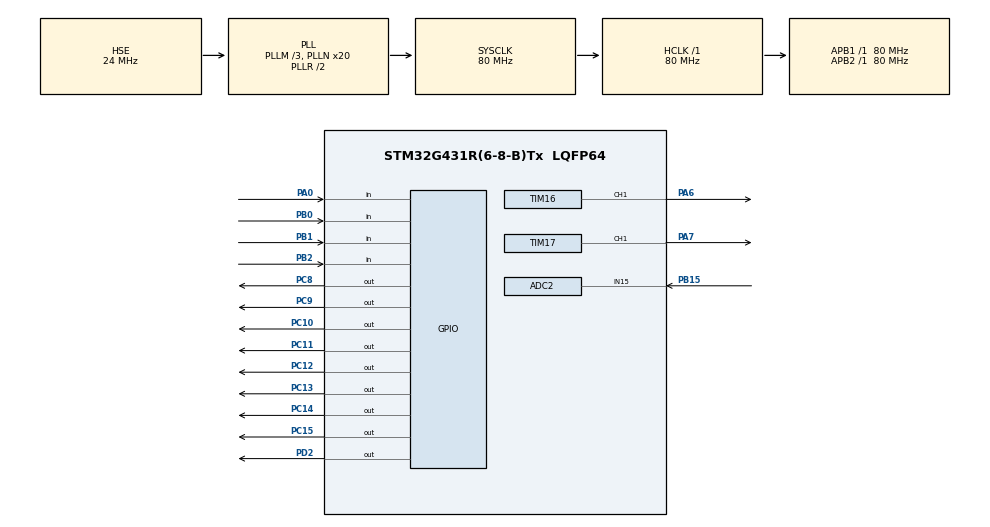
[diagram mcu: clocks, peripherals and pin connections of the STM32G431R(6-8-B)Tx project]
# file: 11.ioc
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ADC2.Channel-0\#ChannelRegularConversion=ADC_CHANNEL_15
ADC2.NbrOfConversionFlag=1
ADC2.OffsetNumber-0\#ChannelRegularConversion=ADC_OFFSET_NONE
ADC2.Rank-0\#ChannelRegularConversion=1
ADC2.SamplingTime-0\#ChannelRegularConversion=ADC_SAMPLETIME_2CYCLES_5
Mcu.Family=STM32G4
Mcu.Name=STM32G431R(6-8-B)Tx
Mcu.Package=LQFP64
NVIC.PriorityGroup=NVIC_PRIORITYGROUP_4
NVIC.TIM1_TRG_COM_TIM17_IRQn=true\:0\:0\:false\:false\:true\:true\:true
NVIC.TIM1_UP_TIM16_IRQn=true\:0\:0\:false\:false\:true\:true\:true
PA0.Signal=GPIO_Input
PA13.Mode=Serial_Wire
PA13.Signal=SYS_JTMS-SWDIO
PA14.Mode=Serial_Wire
PA14.Signal=SYS_JTCK-SWCLK
PA6.Signal=S_TIM16_CH1
PA7.Signal=S_TIM17_CH1
PB0.Signal=GPIO_Input
PB1.Signal=GPIO_Input
PB15.Mode=IN15-Single-Ended
PB15.Signal=ADC2_IN15
PB2.Signal=GPIO_Input
PC10.PinState=GPIO_PIN_RESET
PC10.Signal=GPIO_Output
PC11.PinState=GPIO_PIN_RESET
PC11.Signal=GPIO_Output
PC12.Signal=GPIO_Output
PC13.Signal=GPIO_Output
PC14-OSC32_IN.Signal=GPIO_Output
PC15-OSC32_OUT.Signal=GPIO_Output
PC8.PinState=GPIO_PIN_RESET
PC8.Signal=GPIO_Output
PC9.PinState=GPIO_PIN_RESET
PC9.Signal=GPIO_Output
PD2.Signal=GPIO_Output
PF0-OSC_IN.Mode=HSE-External-Oscillator
PF0-OSC_IN.Signal=RCC_OSC_IN
PF1-OSC_OUT.Mode=HSE-External-Oscillator
PF1-OSC_OUT.Signal=RCC_OSC_OUT
ProjectManager.HeapSize=0x200
ProjectManager.StackSize=0x400
ProjectManager.TargetToolchain=MDK-ARM V5.27
RCC.ADC12Freq_Value=80000000
RCC.AHBFreq_Value=80000000
RCC.APB1Freq_Value=80000000
RCC.APB1TimFreq_Value=80000000
RCC.APB2Freq_Value=80000000
RCC.APB2TimFreq_Value=80000000
RCC.CortexFreq_Value=80000000
RCC.EXTERNAL_CLOCK_VALUE=12288000
RCC.HCLKFreq_Value=80000000
RCC.HSE_VALUE=24000000
RCC.HSI48_VALUE=48000000
RCC.HSI_VALUE=16000000
RCC.LSE_VALUE=32768
RCC.PLLM=RCC_PLLM_DIV3
RCC.PLLN=20
RCC.PLLSourceVirtual=RCC_PLLSOURCE_HSE
RCC.SYSCLKFreq_VALUE=80000000
RCC.SYSCLKSource=RCC_SYSCLKSOURCE_PLLCLK
RCC.USBFreq_Value=80000000
RCC.VCOOutputFreq_Value=160000000
SH.S_TIM16_CH1.0=TIM16_CH1,PWM Generation1 CH1
SH.S_TIM17_CH1.0=TIM17_CH1,PWM Generation1 CH1
TIM16.Channel=TIM_CHANNEL_1
TIM16.PeriodNoDither=10000-1
TIM16.Prescaler=79
TIM16.PulseNoDither_1=5000-1
TIM17.Channel=TIM_CHANNEL_1
TIM17.PeriodNoDither=5000-1
TIM17.Prescaler=79
TIM17.PulseNoDither_1=2500-1
VP_SYS_VS_DBSignals.Mode=DisableDeadBatterySignals
VP_TIM16_VS_ClockSourceINT.Mode=Enable_Timer
VP_TIM17_VS_ClockSourceINT.Mode=Enable_Timer
board=custom

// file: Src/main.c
/* USER CODE BEGIN Header */
/**
  ******************************************************************************
  * @file           : main.c
  * @brief          : Main program body
  ******************************************************************************
  * @attention
  *
  * <h2><center>&copy; Copyright (c) 2023 STMicroelectronics.
  * All rights reserved.</center></h2>
  *
  * This software component is licensed by ST under BSD 3-Clause license,
  * the "License"; You may not use this file except in compliance with the
  * License. You may obtain a copy of the License at:
  *                        opensource.org/licenses/BSD-3-Clause
  *
  ******************************************************************************
  */
/* USER CODE END Header */

#include "main.h"
#include "adc.h"
#include "tim.h"
#include "gpio.h"

/* USER CODE BEGIN Includes */
#include "lcd_hal.h"
#include "stdio.h"
/* USER CODE END Includes */

/* USER CODE BEGIN PD */
//按键宏定义
#define B1 HAL_GPIO_ReadPin(GPIOB, GPIO_PIN_0)
#define B2 HAL_GPIO_ReadPin(GPIOB, GPIO_PIN_1)
#define B3 HAL_GPIO_ReadPin(GPIOB, GPIO_PIN_2)
#define B4 HAL_GPIO_ReadPin(GPIOA, GPIO_PIN_0)

/* USER CODE END PD */

/* USER CODE BEGIN PV */
//定义一个按键检测枚举
enum Key_All_state{
	Key_Check,
	Key_Press,
	Key_Release
};

enum Key_All_state Key_State=Key_Check;
uint32_t Key_Press_Time = 20 ;//第一次进入释放初始值
uint8_t Key_Value=0;//按键键值
uint8_t Key_Flag=0;//按键标志位

uint8_t Duty_PA6=10;//定义占空比变量
uint8_t Duty_PA7=10;

//显示界面变量
uint8_t Inerface_Num=0;
//控制模式
uint8_t Control_Mode=0;

//电压变量
uint32_t vlot_Value;

/* USER CODE END PV */

void SystemClock_Config(void);
/* USER CODE BEGIN PFP */
void LedAllClose(void);
void LcdDataInterface(float Vlot,int mode);
void LcdParaInterface(int Duty_PA6,int Duty_PA7);
void LcdInit(void);
void LedControl(void);
uint32_t AdcGet(void);
/* USER CODE END PFP */

int main(void)
{

  /* MCU Configuration--------------------------------------------------------*/

  /* Reset of all peripherals, Initializes the Flash interface and the Systick. */
  HAL_Init();

  /* Configure the system clock */
  SystemClock_Config();

  /* Initialize all configured peripherals */
  MX_GPIO_Init();
  MX_ADC2_Init();
  MX_TIM16_Init();
  MX_TIM17_Init();
  /* USER CODE BEGIN 2 */
	LedAllClose();
	LCD_Init();//LCD初始化
	LcdInit();
	//开启PWM输出
	HAL_TIM_PWM_Start(&htim16, TIM_CHANNEL_1);
	HAL_TIM_PWM_Start(&htim17, TIM_CHANNEL_1);
	//清除中断
	__HAL_TIM_CLEAR_IT(&htim16, TIM_CHANNEL_1);
	__HAL_TIM_CLEAR_IT(&htim17, TIM_CHANNEL_1);
  /* USER CODE END 2 */

  /* Infinite loop */
  /* USER CODE BEGIN WHILE */
  while (1)
  {
	  //读取电压值
	  vlot_Value = AdcGet();
	  //按键检测
	  if(Key_Flag)
	  {
		Key_Flag = 0;
		  //界面切换按键
		if(Key_Value == 1)
		{
			++Inerface_Num;
			Inerface_Num %= 2;
		}
		//仅参数界面有效
		if(Key_Value == 2 && Inerface_Num==1)
		{
			Duty_PA6 += 10;
			if(Duty_PA6 == 100) Duty_PA6=10;
		}
		//仅参数界面有效
		if(Key_Value == 3 && Inerface_Num==1)
		{
			Duty_PA7 += 10;
			if(Duty_PA7 == 100) Duty_PA7=10;
		}
		if(Key_Value == 4)
		{
			Control_Mode++;
			Control_Mode %= 2;
		}
	  }

	  //自动模式控制占空比
	  if(Control_Mode == 0)
	  {
		  	//改变占空比
		  __HAL_TIM_SET_COMPARE(&htim16, TIM_CHANNEL_1, vlot_Value * 10000 /4096 -1);
		  __HAL_TIM_SET_COMPARE(&htim17, TIM_CHANNEL_1, vlot_Value * 5000 /4096 -1);
	  }
	  else
	  {
			//改变占空比
		  __HAL_TIM_SET_COMPARE(&htim16, TIM_CHANNEL_1, Duty_PA6 * 100);
		  __HAL_TIM_SET_COMPARE(&htim17, TIM_CHANNEL_1, Duty_PA7 * 100 /2);
	  }
	  //显示界面
	  if(Inerface_Num == 0) LcdDataInterface(vlot_Value * 3.3/4096,Control_Mode);//数据界面
	  else LcdParaInterface( Duty_PA6, Duty_PA7);//参数界面

	  //LED控制
	  LedControl();
    /* USER CODE END WHILE */

  }
}

void SystemClock_Config(void)
{
  RCC_OscInitTypeDef RCC_OscInitStruct = {0};
  RCC_ClkInitTypeDef RCC_ClkInitStruct = {0};
  RCC_PeriphCLKInitTypeDef PeriphClkInit = {0};

  /** Configure the main internal regulator output voltage
  */
  HAL_PWREx_ControlVoltageScaling(PWR_REGULATOR_VOLTAGE_SCALE1);
  /** Initializes the CPU, AHB and APB busses clocks
  */
  RCC_OscInitStruct.OscillatorType = RCC_OSCILLATORTYPE_HSE;
  RCC_OscInitStruct.HSEState = RCC_HSE_ON;
  RCC_OscInitStruct.PLL.PLLState = RCC_PLL_ON;
  RCC_OscInitStruct.PLL.PLLSource = RCC_PLLSOURCE_HSE;
  RCC_OscInitStruct.PLL.PLLM = RCC_PLLM_DIV3;
  RCC_OscInitStruct.PLL.PLLN = 20;
  RCC_OscInitStruct.PLL.PLLP = RCC_PLLP_DIV2;
  RCC_OscInitStruct.PLL.PLLQ = RCC_PLLQ_DIV2;
  RCC_OscInitStruct.PLL.PLLR = RCC_PLLR_DIV2;
  if (HAL_RCC_OscConfig(&RCC_OscInitStruct) != HAL_OK)
  {
    Error_Handler();
  }
  /** Initializes the CPU, AHB and APB busses clocks
  */
  RCC_ClkInitStruct.ClockType = RCC_CLOCKTYPE_HCLK|RCC_CLOCKTYPE_SYSCLK
                              |RCC_CLOCKTYPE_PCLK1|RCC_CLOCKTYPE_PCLK2;
  RCC_ClkInitStruct.SYSCLKSource = RCC_SYSCLKSOURCE_PLLCLK;
  RCC_ClkInitStruct.AHBCLKDivider = RCC_SYSCLK_DIV1;
  RCC_ClkInitStruct.APB1CLKDivider = RCC_HCLK_DIV1;
  RCC_ClkInitStruct.APB2CLKDivider = RCC_HCLK_DIV1;

  if (HAL_RCC_ClockConfig(&RCC_ClkInitStruct, FLASH_LATENCY_3) != HAL_OK)
  {
    Error_Handler();
  }
  /** Initializes the peripherals clocks
  */
  PeriphClkInit.PeriphClockSelection = RCC_PERIPHCLK_ADC12;
  PeriphClkInit.Adc12ClockSelection = RCC_ADC12CLKSOURCE_SYSCLK;
  if (HAL_RCCEx_PeriphCLKConfig(&PeriphClkInit) != HAL_OK)
  {
    Error_Handler();
  }
}

/* USER CODE BEGIN 4 */
//关闭所有LED
void LedAllClose(void)
{
	//PD2 开启LED使能控制
	HAL_GPIO_WritePin(GPIOD, GPIO_PIN_2, GPIO_PIN_SET);
	//关闭所有LED
	HAL_GPIO_WritePin(GPIOC, GPIO_PIN_8 | GPIO_PIN_9 | GPIO_PIN_10 | GPIO_PIN_11 |
						GPIO_PIN_12 | GPIO_PIN_13 | GPIO_PIN_14 | GPIO_PIN_15, GPIO_PIN_SET);
	//PD2 关闭LED使能控制
	HAL_GPIO_WritePin(GPIOD, GPIO_PIN_2, GPIO_PIN_RESET);
}

void LcdInit(void)
{
	LCD_SetTextColor(White);
	LCD_SetBackColor(Black);
	LCD_DisplayStringLine(Line0, "                    ");
	LCD_DisplayStringLine(Line1, "                    ");
	LCD_DisplayStringLine(Line2, "                    ");
	LCD_DisplayStringLine(Line3, "                    ");
	LCD_DisplayStringLine(Line4, "                    ");
	LCD_DisplayStringLine(Line5, "                    ");
	LCD_DisplayStringLine(Line6, "                    ");
	LCD_DisplayStringLine(Line7, "                    ");
	LCD_DisplayStringLine(Line8, "                    ");
	LCD_DisplayStringLine(Line9, "                    ");
}

void LcdDataInterface(float Vlot,int mode)
{
	uint8_t StringLine2[20];
	//显示Data
	LCD_DisplayStringLine(Line0, "      Data          ");
	sprintf((char*)StringLine2,"    V:%.2fV     ",Vlot);
	LCD_DisplayStringLine(Line2, StringLine2);
	if(mode==0)
		LCD_DisplayStringLine(Line4, "    Mode:AUTO       ");
	else if(mode == 1)
		LCD_DisplayStringLine(Line4, "    Mode:MANU       ");
}

void LcdParaInterface(int Duty_PA6,int Duty_PA7)
{
	uint8_t StringLine2[20];
	uint8_t StringLine4[20];
	//显示Data
	LCD_DisplayStringLine(Line0, "      Para          ");
	sprintf((char*)StringLine2,"    PA6:%2d%%     ",Duty_PA6);
	LCD_DisplayStringLine(Line2, StringLine2);
	sprintf((char*)StringLine4,"    PA7:%2d%%     ",Duty_PA7);
	LCD_DisplayStringLine(Line4, StringLine4);
}

//按键扫描 10ms扫描一次
void KeyScan(void)
{
	switch(Key_State)
	{
		case Key_Check:
			if(B1 == GPIO_PIN_RESET | B2 == GPIO_PIN_RESET | B3 == GPIO_PIN_RESET | B4 == GPIO_PIN_RESET)
				Key_State = Key_Press;
			break;
		case Key_Press:
			Key_State = Key_Release;//等待按键释放
			//键值判断
			if(B1 == GPIO_PIN_RESET) Key_Value=1;
			else if(B2 == GPIO_PIN_RESET) Key_Value=2;
			else if(B3 == GPIO_PIN_RESET) Key_Value=3;
			else if(B4 == GPIO_PIN_RESET) Key_Value=4;
			else Key_State = Key_Check;//消抖判断
			break;
		case Key_Release:
			if(B1 == GPIO_PIN_RESET | B2 == GPIO_PIN_RESET | B3 == GPIO_PIN_RESET | B4 == GPIO_PIN_RESET)
				Key_Press_Time+=10;//按键持续按下
			else//按键释放
			{
				Key_Flag=1;//按键标志位
				Key_State = Key_Check;//按键状态复位
			}
			break;
		default:break;
	}
}

//LED控制
void LedControl(void)
{
	//PD2 开启LED使能控制
	HAL_GPIO_WritePin(GPIOD, GPIO_PIN_2, GPIO_PIN_SET);
	//关闭所有LED
	HAL_GPIO_WritePin(GPIOC, GPIO_PIN_8 | GPIO_PIN_9 | GPIO_PIN_10 | GPIO_PIN_11 |
						GPIO_PIN_12 | GPIO_PIN_13 | GPIO_PIN_14 | GPIO_PIN_15, GPIO_PIN_SET);
	//自动模式L1点亮 数据界面L2点亮
	if(Control_Mode == 0) HAL_GPIO_WritePin(GPIOC, GPIO_PIN_8 , GPIO_PIN_RESET);
	if(Inerface_Num == 0) HAL_GPIO_WritePin(GPIOC, GPIO_PIN_9 , GPIO_PIN_RESET);
	//PD2 关闭LED使能控制
	HAL_GPIO_WritePin(GPIOD, GPIO_PIN_2, GPIO_PIN_RESET);
}

//ADC获取
uint32_t AdcGet(void)
{
	uint32_t Value;
	HAL_ADC_Start(&hadc2);//开启ADC
	HAL_ADC_PollForConversion(&hadc2, 2);//开启adc转换
	Value = HAL_ADC_GetValue(&hadc2);//获取ADC的值
	HAL_ADC_Stop(&hadc2);
	return Value;
}

/* USER CODE END 4 */

void Error_Handler(void)
{
}

/************************ (C) COPYRIGHT STMicroelectronics *****END OF FILE****/
